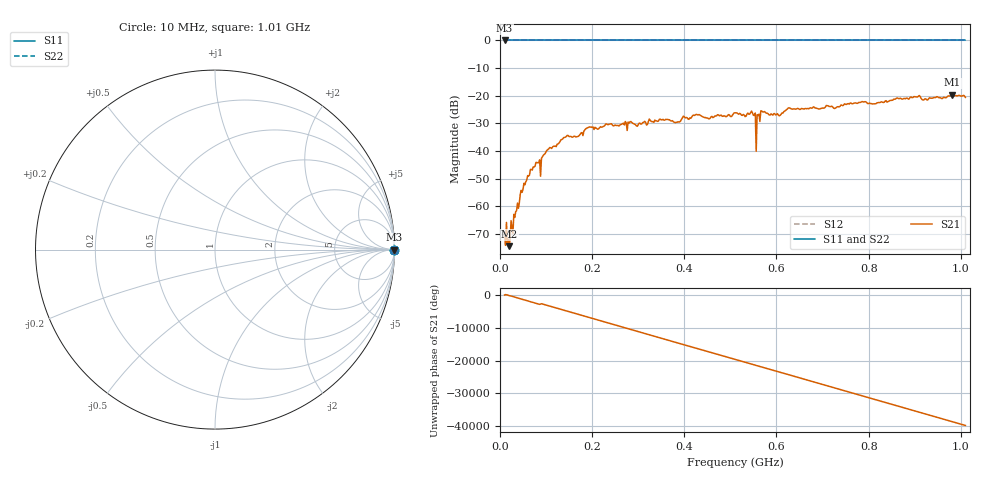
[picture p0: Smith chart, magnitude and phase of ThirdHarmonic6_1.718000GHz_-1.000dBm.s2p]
! 8/16/2025 8:40:45 PM
! C:\ANRITSUVNA\TEMP\TEMP.S2P
! CHANNEL.1
! TR.MEASUREMENT
! RAW.DATA
! RF.CORRECTION.OFF
! AVERAGING.OFF
! IF.BANDWIDTH: 5KHZ
! SWEEPTYPE:  FREQ.SWEEP(Linear)
! Reference Plane Port Info
! PORT:  PORT1  PORT2
! DISTANCE:  0  m  0  m
! TIME:  0  s  0  s
! PHASE.OFFSET:  0  deg.  0  deg.
! LOSS:  0  dB  0  dB
! REF.LOSS:  0  dB  0  dB
! REF.FREQ:  0  Hz  0  Hz
! Power Info
! POWER:  -20  dBm  -20  dBm
! EFF.POWER:  -20  dBm  -20  dBm
! SOURCE.ATTEN:  0  dB  0  dB
! TEST.ATTEN:  0  dB  0  dB
# GHZ S RI R 50.0
! FREQ.GHZ  S11RE  S11IM  S21RE  S21IM  S12RE  S12IM  S22RE  S22IM
!; PortSelection: Port_12
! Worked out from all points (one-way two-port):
!   501 points, 10 MHz to 1.01 GHz, reference 50 ohm
!   highest |S21| = -19.61 dB at 982 MHz (marker M1); lowest = -74.5 dB at 20 MHz (marker M2)
!   lowest |S11| = 0.0 dB at 10 MHz (marker M3)
!   |S11| at or under -10 dB: nowhere
!   |S22| runs from 0.0 to 0.0 dB; largest |S21 - S12| = 1.1
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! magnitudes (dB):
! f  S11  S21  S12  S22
! 10 MHz  0.0  -69.4  0.0  0.0
! 20 MHz  0.0  -74.5  0.0  0.0
! 48 MHz  0.0  -55.0  0.0  0.0
! 70 MHz  0.0  -46.9  0.0  0.0
! 86 MHz  0.0  -43.2  0.0  0.0
! 104 MHz  0.0  -39.5  0.0  0.0
! 136 MHz  0.0  -35.7  0.0  0.0
! 178 MHz  0.0  -33.4  0.0  0.0
! 194 MHz  0.0  -31.3  0.0  0.0
! 344 MHz  0.0  -29.1  0.0  0.0
! 510 MHz  0.0  -26.2  0.0  0.0
! 550 MHz  0.0  -27.1  0.0  0.0
! 552 MHz  0.0  -27.0  0.0  0.0
! 560 MHz  0.0  -27.2  0.0  0.0
! 562 MHz  0.0  -26.7  0.0  0.0
! 570 MHz  0.0  -25.8  0.0  0.0
! 604 MHz  0.0  -27.0  0.0  0.0
! 626 MHz  0.0  -24.4  0.0  0.0
! 678 MHz  0.0  -24.5  0.0  0.0
! 844 MHz  0.0  -22.0  0.0  0.0
! 982 MHz  0.0  -19.6  0.0  0.0
! 1.01 GHz  0.0  -20.6  0.0  0.0
